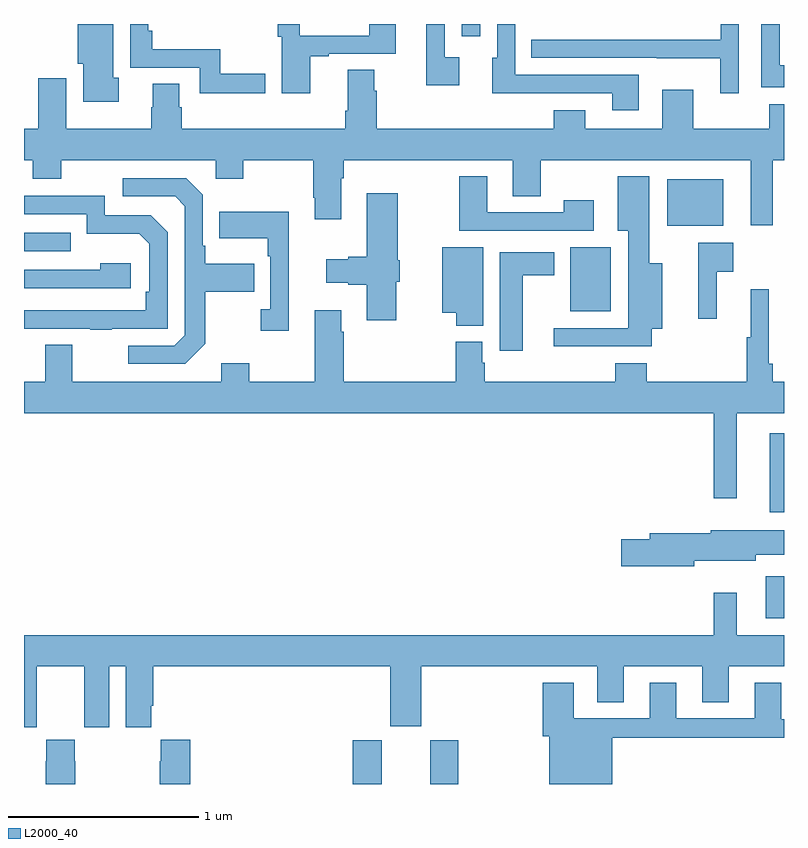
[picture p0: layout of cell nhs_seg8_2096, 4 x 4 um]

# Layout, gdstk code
import gdstk
lib = gdstk.Library(unit=1e-6, precision=1e-09)
def R(c, l, rs):  # rectangles x0, y0, x1, y1
    for r in rs: c.add(gdstk.rectangle(r[:2], r[2:], *l))
def P(c, l, *ps):  # polygons
    for p in ps: c.add(gdstk.Polygon(p, *l))
L2000_40 = (2000, 40)

nhs_seg8_2096 = lib.new_cell('nhs_seg8_2096')
R(nhs_seg8_2096, L2000_40, [(244.73,1095.9,244.882,1096.131), (245.138,1095.9,245.286,1096.131), (246.905,1096.773,247,1096.993), (246.926,1097.33,247,1097.746), (245.876,1098.389,246.088,1098.724), (243,1098.705,243.245,1098.801), (246.386,1098.839,246.679,1099.084), (245.304,1099.836,245.4,1099.9)])
P(nhs_seg8_2096, L2000_40, [(244.507,1099.731),(244.603,1099.731),(244.603,1099.743),(244.957,1099.743),(244.957,1099.9),(244.817,1099.9),(244.817,1099.839),(244.452,1099.839),(244.452,1099.9),(244.336,1099.9),(244.336,1099.832),(244.356,1099.832),(244.356,1099.536),(244.507,1099.536)],
  [(244.27,1099.637),(244.033,1099.637),(244.033,1099.768),(243.674,1099.768),(243.674,1099.864),(243.654,1099.864),(243.654,1099.9),(243.558,1099.9),(243.558,1099.671),(243.924,1099.671),(243.924,1099.535),(244.27,1099.535)],
  [(246.762,1099.9),(246.666,1099.9),(246.666,1099.818),(245.671,1099.818),(245.671,1099.722),(246.331,1099.722),(246.331,1099.721),(246.665,1099.721),(246.665,1099.536),(246.762,1099.536)],
  [(243.499,1099.616),(243.469,1099.616),(243.469,1099.9),(243.284,1099.9),(243.284,1099.692),(243.311,1099.692),(243.311,1099.49),(243.499,1099.49)],
  [(245.29,1099.726),(245.214,1099.726),(245.214,1099.9),(245.117,1099.9),(245.117,1099.578),(245.29,1099.578)],
  [(246.235,1099.632),(245.586,1099.632),(245.586,1099.9),(245.49,1099.9),(245.49,1099.722),(245.465,1099.722),(245.465,1099.535),(245.683,1099.535),(245.683,1099.536),(246.095,1099.536),(246.095,1099.446),(246.235,1099.446)],
  [(247,1099.682),(246.977,1099.682),(246.977,1099.9),(246.879,1099.9),(246.879,1099.566),(247,1099.566)],
  [(246.941,1099.184),(247,1099.184),(247,1099.477),(246.923,1099.477),(246.923,1099.348),(246.523,1099.348),(246.523,1099.555),(246.359,1099.555),(246.359,1099.348),(245.953,1099.348),(245.953,1099.447),(245.789,1099.447),(245.789,1099.348),(244.856,1099.348),(244.856,1099.55),(244.843,1099.55),(244.843,1099.658),(244.703,1099.658),(244.703,1099.444),(244.691,1099.444),(244.691,1099.348),(243.83,1099.348),(243.83,1099.461),(243.817,1099.461),(243.817,1099.586),(243.677,1099.586),(243.677,1099.461),(243.67,1099.461),(243.67,1099.348),(243.223,1099.348),(243.223,1099.615),(243.076,1099.615),(243.076,1099.348),(243,1099.348),(243,1099.184),(243.047,1099.184),(243.047,1099.085),(243.195,1099.085),(243.195,1099.184),(244.008,1099.184),(244.008,1099.085),(244.155,1099.085),(244.155,1099.184),(244.522,1099.184),(244.522,1098.985),(244.529,1098.985),(244.529,1098.873),(244.669,1098.873),(244.669,1099.088),(244.682,1099.088),(244.682,1099.184),(245.573,1099.184),(245.573,1098.994),(245.721,1098.994),(245.721,1099.184),(246.824,1099.184),(246.824,1098.84),(246.941,1098.84)],
  [(246.305,1098.296),(246.358,1098.296),(246.358,1098.64),(246.292,1098.64),(246.292,1099.099),(246.125,1099.099),(246.125,1098.812),(246.179,1098.812),(246.179,1098.3),(245.787,1098.3),(245.787,1098.203),(246.305,1098.203)],
  [(245.998,1098.973),(245.842,1098.973),(245.842,1098.909),(245.437,1098.909),(245.437,1099.099),(245.29,1099.099),(245.29,1098.813),(245.998,1098.813)],
  [(243.955,1098.217),(243.955,1098.49),(244.211,1098.49),(244.211,1098.637),(243.955,1098.637),(243.955,1098.733),(243.942,1098.733),(243.942,1099.002),(243.855,1099.089),(243.519,1099.089),(243.519,1098.993),(243.795,1098.993),(243.846,1098.942),(243.846,1098.261),(243.792,1098.207),(243.549,1098.207),(243.549,1098.111),(243.849,1098.111)],
  [(244.96,1098.543),(244.978,1098.543),(244.978,1098.657),(244.968,1098.657),(244.968,1099.009),(244.805,1099.009),(244.805,1098.674),(244.706,1098.674),(244.706,1098.661),(244.59,1098.661),(244.59,1098.539),(244.706,1098.539),(244.706,1098.527),(244.805,1098.527),(244.805,1098.342),(244.96,1098.342)],
  [(243.461,1098.297),(243.756,1098.297),(243.756,1098.804),(243.666,1098.894),(243.426,1098.894),(243.426,1098.996),(243,1098.996),(243,1098.9),(243.33,1098.9),(243.33,1098.797),(243.607,1098.797),(243.66,1098.744),(243.66,1098.49),(243.64,1098.49),(243.64,1098.393),(243,1098.393),(243,1098.297),(243.349,1098.297),(243.349,1098.292),(243.461,1098.292)],
  [(244.394,1098.913),(244.027,1098.913),(244.027,1098.773),(244.284,1098.773),(244.284,1098.677),(244.296,1098.677),(244.296,1098.398),(244.245,1098.398),(244.245,1098.285),(244.394,1098.285)],
  [(246.647,1098.596),(246.733,1098.596),(246.733,1098.748),(246.548,1098.748),(246.548,1098.348),(246.647,1098.348)],
  [(245.416,1098.724),(245.201,1098.724),(245.201,1098.38),(245.275,1098.38),(245.275,1098.313),(245.416,1098.313)],
  [(245.626,1098.578),(245.791,1098.578),(245.791,1098.7),(245.504,1098.7),(245.504,1098.18),(245.626,1098.18)],
  [(243.562,1098.64),(243.401,1098.64),(243.401,1098.606),(243,1098.606),(243,1098.51),(243.562,1098.51)],
  [(246.751,1097.852),(247,1097.852),(247,1098.016),(246.941,1098.016),(246.941,1098.112),(246.921,1098.112),(246.921,1098.505),(246.824,1098.505),(246.824,1098.252),(246.805,1098.252),(246.805,1098.016),(246.278,1098.016),(246.278,1098.115),(246.113,1098.115),(246.113,1098.016),(245.426,1098.016),(245.426,1098.117),(245.413,1098.117),(245.413,1098.228),(245.273,1098.228),(245.273,1098.016),(244.682,1098.016),(244.682,1098.281),(244.669,1098.281),(244.669,1098.394),(244.529,1098.394),(244.529,1098.016),(244.185,1098.016),(244.185,1098.115),(244.037,1098.115),(244.037,1098.016),(243.253,1098.016),(243.253,1098.211),(243.113,1098.211),(243.113,1098.016),(243,1098.016),(243,1097.852),(246.63,1097.852),(246.63,1097.403),(246.751,1097.403)],
  [(246.528,1097.075),(246.85,1097.075),(246.85,1097.107),(247,1097.107),(247,1097.236),(246.614,1097.236),(246.614,1097.219),(246.293,1097.219),(246.293,1097.189),(246.144,1097.189),(246.144,1097.047),(246.528,1097.047)],
  [(243.066,1096.312),(243.067,1096.312),(243.067,1096.52),(243.317,1096.52),(243.317,1096.312),(243.318,1096.312),(243.318,1096.2),(243.448,1096.2),(243.448,1096.52),(243.536,1096.52),(243.536,1096.2),(243.67,1096.2),(243.67,1096.312),(243.68,1096.312),(243.68,1096.52),(244.928,1096.52),(244.928,1096.203),(245.092,1096.203),(245.092,1096.52),(246.017,1096.52),(246.017,1096.33),(246.157,1096.33),(246.157,1096.52),(246.569,1096.52),(246.569,1096.33),(246.709,1096.33),(246.709,1096.52),(247,1096.52),(247,1096.684),(246.751,1096.684),(246.751,1096.906),(246.63,1096.906),(246.63,1096.684),(243,1096.684),(243,1096.2),(243.066,1096.2)],
  [(246.097,1096.144),(247,1096.144),(247,1096.242),(246.985,1096.242),(246.985,1096.432),(246.845,1096.432),(246.845,1096.245),(246.433,1096.245),(246.433,1096.432),(246.293,1096.432),(246.293,1096.245),(245.893,1096.245),(245.893,1096.432),(245.729,1096.432),(245.729,1096.152),(245.765,1096.152),(245.765,1095.9),(246.097,1095.9)],
  [(243.27,1096.019),(243.267,1096.019),(243.267,1096.132),(243.117,1096.132),(243.117,1096.019),(243.115,1096.019),(243.115,1095.9),(243.27,1095.9)],
  [(243.875,1096.132),(243.721,1096.132),(243.721,1096.019),(243.715,1096.019),(243.715,1095.9),(243.875,1095.9)])

lib.write_gds('nhs_seg8_2096.gds')
